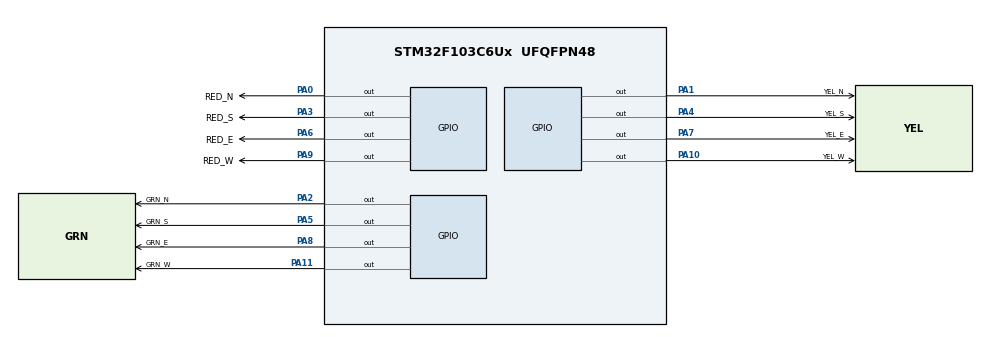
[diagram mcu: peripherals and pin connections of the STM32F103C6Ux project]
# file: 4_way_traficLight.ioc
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Mcu.Family=STM32F1
Mcu.Name=STM32F103C6Ux
Mcu.Package=UFQFPN48
NVIC.PriorityGroup=NVIC_PRIORITYGROUP_4
PA0-WKUP.GPIO_Label=RED_N
PA0-WKUP.Signal=GPIO_Output
PA1.GPIO_Label=YEL_N
PA1.Signal=GPIO_Output
PA10.GPIO_Label=YEL_W
PA10.Signal=GPIO_Output
PA11.GPIO_Label=GRN_W
PA11.Signal=GPIO_Output
PA2.GPIO_Label=GRN_N
PA2.Signal=GPIO_Output
PA3.GPIO_Label=RED_S
PA3.Signal=GPIO_Output
PA4.GPIO_Label=YEL_S
PA4.Signal=GPIO_Output
PA5.GPIO_Label=GRN_S
PA5.Signal=GPIO_Output
PA6.GPIO_Label=RED_E
PA6.Signal=GPIO_Output
PA7.GPIO_Label=YEL_E
PA7.Signal=GPIO_Output
PA8.GPIO_Label=GRN_E
PA8.Signal=GPIO_Output
PA9.GPIO_Label=RED_W
PA9.Signal=GPIO_Output
ProjectManager.HeapSize=0x200
ProjectManager.StackSize=0x400
ProjectManager.TargetToolchain=STM32CubeIDE
RCC.APB1Freq_Value=8000000
RCC.APB2Freq_Value=8000000
VP_SYS_VS_ND.Mode=No_Debug
board=custom

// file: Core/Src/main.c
/* USER CODE BEGIN Header */
/**
  ******************************************************************************
  * @file           : main.c
  * @brief          : Main program body
  ******************************************************************************
  * @attention
  *
  * <h2><center>&copy; Copyright (c) 2026 STMicroelectronics.
  * All rights reserved.</center></h2>
  *
  * This software component is licensed by ST under BSD 3-Clause license,
  * the "License"; You may not use this file except in compliance with the
  * License. You may obtain a copy of the License at:
  *                        opensource.org/licenses/BSD-3-Clause
  *
  ******************************************************************************
  */
/* USER CODE END Header */
#include "main.h"

void SystemClock_Config(void);
static void MX_GPIO_Init(void);

int main(void)
{

  /* MCU Configuration--------------------------------------------------------*/

  /* Reset of all peripherals, Initializes the Flash interface and the Systick. */
  HAL_Init();

  /* Configure the system clock */
  SystemClock_Config();

  /* Initialize all configured peripherals */
  MX_GPIO_Init();

  /* Infinite loop */
  /* USER CODE BEGIN WHILE */
  while (1)
  {
	        // STATE 1: North-South GREEN (3s) | East-West RED
	        // ---------------------------------------------------------
	        // Turn ON Green NS, Turn OFF Red NS & Yellow NS
	        HAL_GPIO_WritePin(GPIOA, GRN_N_Pin | GRN_S_Pin, GPIO_PIN_SET);
	        HAL_GPIO_WritePin(GPIOA, RED_N_Pin | RED_S_Pin | YEL_N_Pin | YEL_S_Pin, GPIO_PIN_RESET);

	        // Turn ON Red EW, Turn OFF Green EW & Yellow EW
	        HAL_GPIO_WritePin(GPIOA, RED_E_Pin | RED_W_Pin, GPIO_PIN_SET);
	        HAL_GPIO_WritePin(GPIOA, GRN_E_Pin | GRN_W_Pin | YEL_E_Pin | YEL_W_Pin, GPIO_PIN_RESET);

	        HAL_Delay(3000);

	        // STATE 2: North-South YELLOW (2s) | East-West RED
	        // ---------------------------------------------------------
	        // Turn ON Yellow NS, Turn OFF Green NS & Red NS
	        HAL_GPIO_WritePin(GPIOA, YEL_N_Pin | YEL_S_Pin, GPIO_PIN_SET);
	        HAL_GPIO_WritePin(GPIOA, RED_N_Pin | RED_S_Pin | GRN_N_Pin | GRN_S_Pin, GPIO_PIN_RESET);

	        // East-West remains RED (No change needed)

	        HAL_Delay(2000);

	        // STATE 3: North-South RED (5s) | East-West GREEN (3s)
	        // ---------------------------------------------------------
	        // Turn ON Red NS, Turn OFF Yellow NS & Green NS
	        HAL_GPIO_WritePin(GPIOA, RED_N_Pin | RED_S_Pin, GPIO_PIN_SET);
	        HAL_GPIO_WritePin(GPIOA, YEL_N_Pin | YEL_S_Pin | GRN_N_Pin | GRN_S_Pin, GPIO_PIN_RESET);

	        // Turn ON Green EW, Turn OFF Red EW & Yellow EW
	        HAL_GPIO_WritePin(GPIOA, GRN_E_Pin | GRN_W_Pin, GPIO_PIN_SET);
	        HAL_GPIO_WritePin(GPIOA, RED_E_Pin | RED_W_Pin | YEL_E_Pin | YEL_W_Pin, GPIO_PIN_RESET);

	        HAL_Delay(3000);

	        // STATE 4: North-South RED | East-West YELLOW (2s)
	        // ---------------------------------------------------------
	        // North-South remains RED (No change needed)

	        // Turn ON Yellow EW, Turn OFF Green EW & Red EW
	        HAL_GPIO_WritePin(GPIOA, YEL_E_Pin | YEL_W_Pin, GPIO_PIN_SET);
	        HAL_GPIO_WritePin(GPIOA, GRN_E_Pin | GRN_W_Pin | RED_E_Pin | RED_W_Pin, GPIO_PIN_RESET);

	        HAL_Delay(2000);

    /* USER CODE END WHILE */

  }
}

void SystemClock_Config(void)
{
  RCC_OscInitTypeDef RCC_OscInitStruct = {0};
  RCC_ClkInitTypeDef RCC_ClkInitStruct = {0};

  /** Initializes the RCC Oscillators according to the specified parameters
  * in the RCC_OscInitTypeDef structure.
  */
  RCC_OscInitStruct.OscillatorType = RCC_OSCILLATORTYPE_HSI;
  RCC_OscInitStruct.HSIState = RCC_HSI_ON;
  RCC_OscInitStruct.HSICalibrationValue = RCC_HSICALIBRATION_DEFAULT;
  RCC_OscInitStruct.PLL.PLLState = RCC_PLL_NONE;
  if (HAL_RCC_OscConfig(&RCC_OscInitStruct) != HAL_OK)
  {
    Error_Handler();
  }
  /** Initializes the CPU, AHB and APB buses clocks
  */
  RCC_ClkInitStruct.ClockType = RCC_CLOCKTYPE_HCLK|RCC_CLOCKTYPE_SYSCLK
                              |RCC_CLOCKTYPE_PCLK1|RCC_CLOCKTYPE_PCLK2;
  RCC_ClkInitStruct.SYSCLKSource = RCC_SYSCLKSOURCE_HSI;
  RCC_ClkInitStruct.AHBCLKDivider = RCC_SYSCLK_DIV1;
  RCC_ClkInitStruct.APB1CLKDivider = RCC_HCLK_DIV1;
  RCC_ClkInitStruct.APB2CLKDivider = RCC_HCLK_DIV1;

  if (HAL_RCC_ClockConfig(&RCC_ClkInitStruct, FLASH_LATENCY_0) != HAL_OK)
  {
    Error_Handler();
  }
}

static void MX_GPIO_Init(void)
{
  GPIO_InitTypeDef GPIO_InitStruct = {0};

  /* GPIO Ports Clock Enable */
  __HAL_RCC_GPIOA_CLK_ENABLE();

  /*Configure GPIO pin Output Level */
  HAL_GPIO_WritePin(GPIOA, RED_N_Pin|YEL_N_Pin|GRN_N_Pin|RED_S_Pin
                          |YEL_S_Pin|GRN_S_Pin|RED_E_Pin|YEL_E_Pin
                          |GRN_E_Pin|RED_W_Pin|YEL_W_Pin|GRN_W_Pin, GPIO_PIN_RESET);

  /*Configure GPIO pins : RED_N_Pin YEL_N_Pin GRN_N_Pin RED_S_Pin
                           YEL_S_Pin GRN_S_Pin RED_E_Pin YEL_E_Pin
                           GRN_E_Pin RED_W_Pin YEL_W_Pin GRN_W_Pin */
  GPIO_InitStruct.Pin = RED_N_Pin|YEL_N_Pin|GRN_N_Pin|RED_S_Pin
                          |YEL_S_Pin|GRN_S_Pin|RED_E_Pin|YEL_E_Pin
                          |GRN_E_Pin|RED_W_Pin|YEL_W_Pin|GRN_W_Pin;
  GPIO_InitStruct.Mode = GPIO_MODE_OUTPUT_PP;
  GPIO_InitStruct.Pull = GPIO_NOPULL;
  GPIO_InitStruct.Speed = GPIO_SPEED_FREQ_LOW;
  HAL_GPIO_Init(GPIOA, &GPIO_InitStruct);

}

void Error_Handler(void)
{
  __disable_irq();
  while (1)
  {
  }
}

/************************ (C) COPYRIGHT STMicroelectronics *****END OF FILE****/
